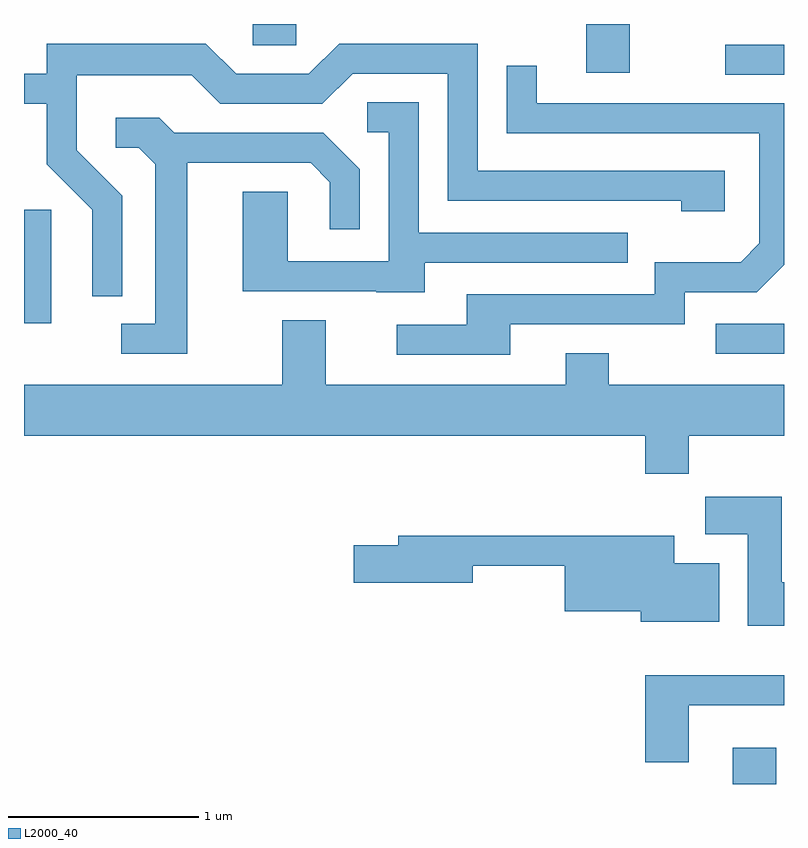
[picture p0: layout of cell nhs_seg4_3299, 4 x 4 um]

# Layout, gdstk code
import gdstk
lib = gdstk.Library(unit=1e-6, precision=1e-09)
def R(c, l, rs):  # rectangles x0, y0, x1, y1
    for r in rs: c.add(gdstk.rectangle(r[:2], r[2:], *l))
def P(c, l, *ps):  # polygons
    for p in ps: c.add(gdstk.Polygon(p, *l))
L2000_40 = (2000, 40)

nhs_seg4_3299 = lib.new_cell('nhs_seg4_3299')
R(nhs_seg4_3299, L2000_40, [(285.341,1323.982,285.569,1324.174), (285.253,1326.246,285.611,1326.404), (281.611,1326.406,281.754,1327.004), (285.303,1327.716,285.611,1327.874), (284.571,1327.726,284.799,1327.982), (282.816,1327.871,283.044,1327.982)])
P(nhs_seg4_3299, L2000_40, [(282.129,1327.077),(281.889,1327.317),(281.889,1327.711),(282.494,1327.711),(282.644,1327.561),(283.182,1327.561),(283.342,1327.721),(283.841,1327.721),(283.841,1327.051),(285.071,1327.051),(285.071,1326.996),(285.299,1326.996),(285.299,1327.209),(283.999,1327.209),(283.999,1327.879),(283.269,1327.879),(283.109,1327.719),(282.727,1327.719),(282.567,1327.879),(281.731,1327.879),(281.731,1327.719),(281.611,1327.719),(281.611,1327.561),(281.731,1327.561),(281.731,1327.244),(281.971,1327.004),(281.971,1326.548),(282.129,1326.548)],
  [(284.169,1326.401),(285.089,1326.401),(285.089,1326.571),(285.467,1326.571),(285.611,1326.716),(285.611,1327.564),(284.309,1327.564),(284.309,1327.763),(284.151,1327.763),(284.151,1327.406),(285.481,1327.406),(285.481,1326.827),(285.384,1326.729),(284.931,1326.729),(284.931,1326.559),(283.941,1326.559),(283.941,1326.399),(283.573,1326.399),(283.573,1326.241),(284.169,1326.241)],
  [(283.719,1326.726),(284.788,1326.726),(284.788,1326.884),(283.689,1326.884),(283.689,1327.569),(283.418,1327.569),(283.418,1327.411),(283.531,1327.411),(283.531,1326.734),(282.999,1326.734),(282.999,1327.099),(282.761,1327.099),(282.761,1326.576),(283.465,1326.576),(283.465,1326.571),(283.719,1326.571)],
  [(282.469,1327.251),(283.119,1327.251),(283.221,1327.149),(283.221,1326.903),(283.379,1326.903),(283.379,1327.217),(283.187,1327.409),(282.402,1327.409),(282.322,1327.489),(282.093,1327.489),(282.093,1327.331),(282.214,1327.331),(282.301,1327.244),(282.301,1326.404),(282.123,1326.404),(282.123,1326.246),(282.469,1326.246)],
  [(285.109,1325.816),(285.611,1325.816),(285.611,1326.084),(284.689,1326.084),(284.689,1326.249),(284.461,1326.249),(284.461,1326.084),(283.199,1326.084),(283.199,1326.424),(282.971,1326.424),(282.971,1326.084),(281.611,1326.084),(281.611,1325.816),(284.881,1325.816),(284.881,1325.616),(285.109,1325.616)],
  [(285.611,1325.044),(285.599,1325.044),(285.599,1325.494),(285.196,1325.494),(285.196,1325.296),(285.421,1325.296),(285.421,1324.816),(285.611,1324.816)],
  [(285.269,1325.144),(285.034,1325.144),(285.034,1325.289),(283.581,1325.289),(283.581,1325.239),(283.346,1325.239),(283.346,1325.041),(283.974,1325.041),(283.974,1325.131),(284.456,1325.131),(284.456,1324.891),(284.856,1324.891),(284.856,1324.836),(285.269,1324.836)],
  [(285.109,1324.396),(285.611,1324.396),(285.611,1324.554),(284.881,1324.554),(284.881,1324.096),(285.109,1324.096)])

lib.write_gds('nhs_seg4_3299.gds')
